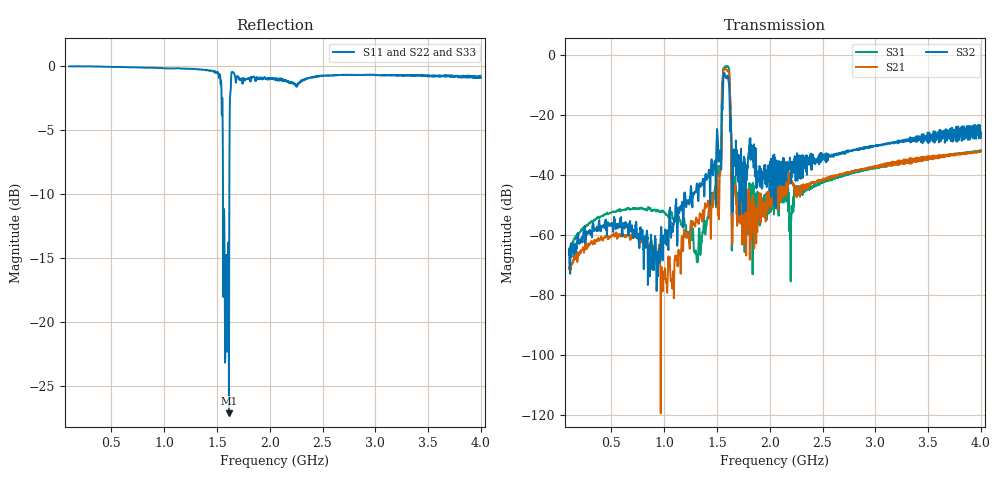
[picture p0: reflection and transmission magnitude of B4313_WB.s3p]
! Matrix data file written by TouchstoneData, EPCOS AG
! FILENAME: "LZ39A_pcb5_WB.s3p_newformat"
! COMMENT: "(LZ39A_pcb5_WB.s3p) Epcos AG 6/8/2011 5:14:0"
! INFO: nport=3, nfreq=1601
! DATE: "Mon Jul  4 19:48:59 2011"
! USER: "Michael Schemies"
! port | pin | signal
!  1  |  1  |  in
!  2  |  3  |  out
!  3  |  4  |  out
# MHZ S MA R 50
! freq  magS11 angS11  magS12 angS12  magS13 angS13  ...
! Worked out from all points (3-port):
!   1601 points, 100 MHz to 4 GHz, reference 50 ohm
!   strongest paths, dB at 100 MHz, 1.075 GHz, 2.05 GHz, 3.025 GHz, 4 GHz:
!     S32: -66.5, -57.3, -37.1, -29.9, -25.8
!     S21: -70.6, -75.9, -48.7, -37.1, -32.1
!     S31: -64.8, -53.0, -46.3, -37.3, -31.7
!   lowest |S11| = -27.1 dB at 1.614 GHz (marker M1), VSWR 1.09, Z = 49 - j4.28 ohm
!   |S11| at or under -10 dB: 1.558 GHz to 1.618 GHz (59.9 MHz wide, 3.77 % of centre)
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100  0.9962 -6.6  0.0002995 80.7  0.0006013 85.8
     0.0002963 82.4  0.998 -6.0  0.0004637 85.8
     0.0005743 85.4  0.0004751 88.0  0.9964 -6.1
943.375  0.9823 -58.2  0.0004897 37.8  0.002509 36.6
         0.0004857 40.1  0.9841 -54.2  0.0003884 -42.2
         0.002501 36.5  0.0003978 -46.5  0.9824 -55.2
1077.438  0.9773 -66.2  0.0001373 -165.9  0.002051 23.0
          0.0001286 -156.2  0.9804 -61.9  0.001226 -176.6
          0.002009 23.3  0.001232 -176.5  0.9776 -63.1
1304.125  0.972 -81.2  0.002057 -173.2  0.0005171 67.7
          0.001974 -173.0  0.9714 -76.5  0.005667 -164.9
          0.0004973 67.9  0.005819 -165.2  0.9706 -78.4
1523.5  0.9241 -125.4  0.006518 165.4  0.009879 127.1
        0.006218 165.1  0.9308 -118.0  0.02511 153.4
        0.009729 127.0  0.02583 153.5  0.9339 -124.7
1567.375  0.2766 -151.6  0.5778 -55.5  0.5948 122.5
          0.5781 -55.5  0.2975 -15.5  0.5094 3.0
          0.5936 122.4  0.5083 3.0  0.3153 -19.9
1613.688  0.04417 -100.1  0.5235 24.1  0.609 -151.8
          0.5234 24.1  0.6269 15.6  0.327 27.1
          0.6078 -151.8  0.3267 27.0  0.5088 15.2
1657.562  0.9389 -48.1  0.005419 40.8  0.006874 -140.7
          0.005201 40.7  0.896 -51.4  0.01496 -62.8
          0.00677 -140.7  0.01541 -62.6  0.9029 -54.6
2050  0.8942 -93.5  0.003884 161.7  0.004915 165.8
      0.003683 161.7  0.8962 -90.1  0.01353 179.0
      0.004825 165.7  0.01394 178.9  0.8902 -91.8
4000  0.9002 -143.7  0.02487 122.9  0.02608 122.8
      0.02481 122.5  0.9153 -139.2  0.05176 141.7
      0.02604 122.6  0.05157 142.0  0.9084 -140.7
